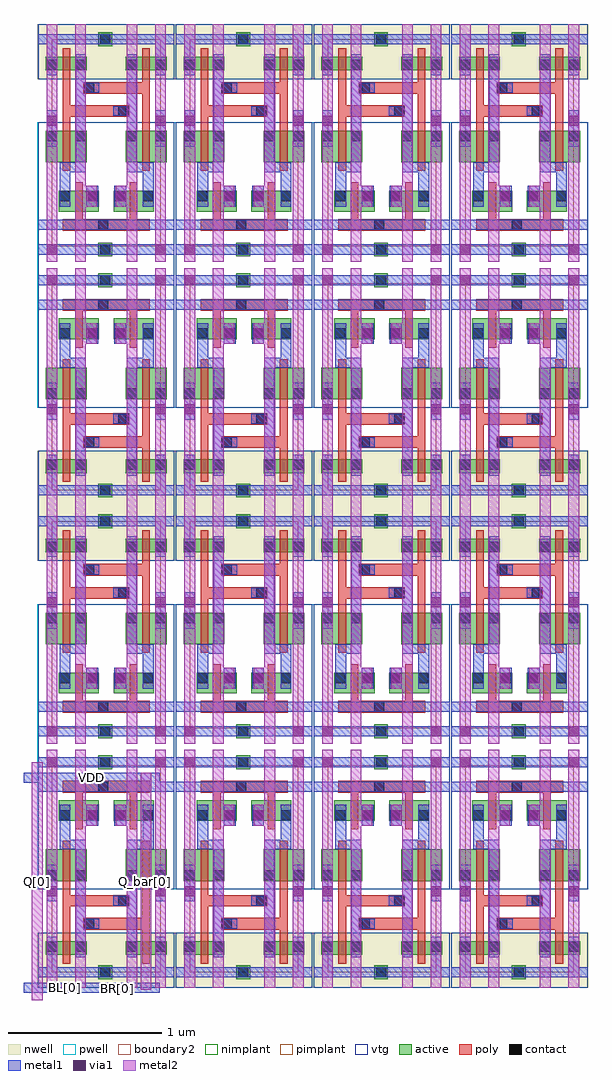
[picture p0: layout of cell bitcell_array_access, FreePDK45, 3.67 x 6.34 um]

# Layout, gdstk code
import gdstk
lib = gdstk.Library(unit=1e-6, precision=1e-09)
def R(c, l, rs):  # rectangles x0, y0, x1, y1
    for r in rs: c.add(gdstk.rectangle(r[:2], r[2:], *l))
active = (1, 0)
pwell = (2, 0)
nwell = (3, 0)
nimplant = (4, 0)
pimplant = (5, 0)
vtg = (6, 0)
poly = (9, 0)
contact = (10, 0)
metal1 = (11, 0)
via1 = (12, 0)
metal2 = (13, 0)
boundary2 = (239, 0)

cell_1rw = lib.new_cell('cell_1rw')
R(cell_1rw, active, [(0.302,-0.045,0.392,0.045), (0.302,-0.045,0.392,0.045), (0.045,0.247,0.12,0.382), (0.045,0.247,0.12,0.382), (0.045,0.247,0.305,0.382), (0.23,0.247,0.305,0.382), (0.23,0.247,0.305,0.382), (0.4,0.247,0.475,0.382), (0.4,0.247,0.475,0.382), (0.4,0.247,0.66,0.382), (0.585,0.247,0.66,0.382), (0.585,0.247,0.66,0.382), (0.045,0.307,0.12,0.382), (0.23,0.307,0.305,0.382), (0.4,0.307,0.475,0.382), (0.585,0.307,0.66,0.382), (-0.04,0.567,0.225,0.772), (-0.035,0.567,0.04,0.772), (-0.035,0.567,0.04,0.772), (0.15,0.567,0.225,0.772), (0.15,0.567,0.225,0.772), (0.48,0.567,0.555,0.772), (0.48,0.567,0.555,0.772), (0.48,0.567,0.745,0.772), (0.665,0.567,0.74,0.772), (0.665,0.567,0.74,0.772), (-0.035,0.697,0.04,0.772), (0.15,0.697,0.225,0.772), (0.48,0.697,0.555,0.772), (0.665,0.697,0.74,0.772), (-0.04,1.163,0.225,1.252), (-0.04,1.163,0.04,1.238), (-0.035,1.163,0.04,1.252), (-0.035,1.163,0.04,1.252), (0.15,1.163,0.225,1.238), (0.15,1.163,0.225,1.252), (0.15,1.163,0.225,1.252), (0.48,1.163,0.555,1.238), (0.48,1.163,0.555,1.252), (0.48,1.163,0.555,1.252), (0.48,1.163,0.745,1.252), (0.665,1.163,0.74,1.252), (0.665,1.163,0.74,1.252), (0.665,1.163,0.745,1.238), (0.302,1.32,0.392,1.41), (0.302,1.32,0.392,1.41)])
R(cell_1rw, pwell, [(-0.095,-0.1,0.8,0.827), (0.247,-0.1,0.447,0.1), (0.247,-0.08,0.447,0.12), (-0.01,0.192,0.36,0.437), (0.345,0.192,0.715,0.437), (-0.09,0.512,0.28,0.827), (0.425,0.512,0.795,0.827)])
R(cell_1rw, nwell, [(-0.095,1.107,0.8,1.465), (-0.09,1.107,0.28,1.308), (0.425,1.107,0.795,1.308), (0.247,1.265,0.447,1.465), (0.247,1.265,0.447,1.465)])
R(cell_1rw, nimplant, [(0.045,0.247,0.305,0.382), (0.4,0.247,0.66,0.382), (-0.035,0.567,0.225,0.772), (0.48,0.567,0.74,0.772), (0.302,1.32,0.392,1.41), (0.302,1.32,0.392,1.41)])
R(cell_1rw, pimplant, [(0.302,-0.045,0.392,0.045), (-0.035,1.163,0.225,1.252), (0.48,1.163,0.74,1.252)])
R(cell_1rw, vtg, [(-0.09,-0.1,0.795,0.827), (-0.01,0.192,0.36,0.437), (0.345,0.192,0.715,0.437), (-0.09,0.512,0.28,0.827), (0.425,0.512,0.795,0.827), (-0.09,1.107,0.795,1.465), (-0.09,1.107,0.28,1.308), (0.425,1.107,0.795,1.308)])
R(cell_1rw, poly, [(0.07,0.122,0.635,0.198), (0.297,0.122,0.372,0.198), (0.15,0.192,0.2,0.437), (0.15,0.192,0.2,0.247), (0.505,0.192,0.555,0.437), (0.505,0.192,0.555,0.247), (0.15,0.382,0.2,0.437), (0.505,0.382,0.555,0.437), (0.07,0.512,0.12,0.567), (0.07,0.512,0.12,0.827), (0.585,0.512,0.635,0.567), (0.585,0.512,0.635,0.827), (0.07,0.772,0.12,0.827), (0.585,0.772,0.635,0.827), (0.07,0.827,0.12,1.107), (0.07,0.827,0.12,1.107), (0.585,0.827,0.635,1.107), (0.585,0.827,0.635,1.107), (0.07,0.863,0.503,0.937), (0.427,0.863,0.503,0.937), (0.427,0.863,0.503,0.937), (0.203,1.012,0.635,1.088), (0.203,1.012,0.278,1.088), (0.203,1.012,0.278,1.088), (0.07,1.107,0.12,1.308), (0.07,1.107,0.12,1.163), (0.585,1.107,0.635,1.308), (0.585,1.107,0.635,1.163), (0.07,1.252,0.12,1.308), (0.585,1.252,0.635,1.308)])
R(cell_1rw, contact, [(0.315,-0.033,0.38,0.033), (0.302,0.127,0.367,0.192), (0.05,0.312,0.115,0.377), (0.235,0.312,0.3,0.377), (0.405,0.312,0.47,0.377), (0.59,0.312,0.655,0.377), (-0.033,0.702,0.033,0.768), (0.155,0.702,0.22,0.768), (0.485,0.702,0.55,0.768), (0.672,0.702,0.738,0.768), (0.432,0.868,0.497,0.932), (0.432,0.868,0.497,0.932), (0.208,1.018,0.273,1.083), (0.208,1.018,0.273,1.083), (-0.033,1.167,0.033,1.232), (0.155,1.167,0.22,1.232), (0.485,1.167,0.55,1.232), (0.672,1.167,0.738,1.232), (0.315,1.332,0.38,1.397)])
R(cell_1rw, metal1, [(-0.09,-0.033,0.795,0.033), (-0.09,0.127,0.795,0.192), (0.268,0.127,0.403,0.192), (-0.085,0.13,-0.033,0.192), (0.62,0.13,0.672,0.192), (0.05,0.278,0.12,0.567), (0.05,0.278,0.115,0.413), (0.222,0.278,0.288,0.413), (0.235,0.278,0.3,0.413), (0.405,0.278,0.47,0.413), (0.417,0.278,0.482,0.413), (0.59,0.278,0.66,0.567), (0.59,0.278,0.655,0.413), (0.05,0.503,0.22,0.567), (0.155,0.503,0.22,1.242), (0.485,0.503,0.55,1.133), (0.485,0.503,0.66,0.567), (-0.035,0.667,0.035,0.802), (-0.035,0.667,0.035,0.802), (-0.03,0.667,0.035,0.802), (0.155,0.667,0.22,0.802), (0.485,0.667,0.55,0.802), (0.67,0.667,0.74,0.802), (0.67,0.667,0.74,0.802), (0.67,0.667,0.74,0.802), (0.67,0.667,0.74,0.802), (0.67,0.667,0.74,0.802), (0.67,0.667,0.74,0.802), (0.67,0.667,0.735,0.802), (-0.033,0.77,0.033,0.905), (-0.033,0.77,0.033,0.905), (-0.033,0.77,0.033,0.905), (-0.033,0.77,0.033,0.905), (-0.033,0.77,0.033,0.905), (-0.033,0.77,0.033,0.905), (0.672,0.77,0.738,0.905), (0.672,0.77,0.738,0.905), (0.672,0.77,0.738,0.905), (0.672,0.77,0.738,0.905), (0.672,0.77,0.738,0.905), (0.672,0.77,0.738,0.905), (0.672,0.77,0.738,0.905), (0.672,0.77,0.738,0.905), (0.672,0.77,0.738,0.905), (0.672,0.77,0.738,0.905), (0.672,0.77,0.738,0.905), (0.672,0.77,0.738,0.905), (0.672,0.77,0.738,0.905), (0.672,0.77,0.738,0.905), (0.672,0.77,0.738,0.905), (0.672,0.77,0.738,0.905), (0.672,0.77,0.738,0.905), (0.672,0.77,0.738,0.905), (0.672,0.77,0.738,0.905), (0.672,0.77,0.738,0.905), (0.672,0.77,0.738,0.905), (0.672,0.77,0.738,0.905), (0.672,0.77,0.738,0.905), (0.672,0.77,0.738,0.905), (0.398,0.868,0.532,0.932), (0.398,0.868,0.532,0.932), (0.173,1.018,0.307,1.083), (0.173,1.018,0.307,1.083), (-0.035,1.133,0.035,1.332), (-0.03,1.133,0.035,1.268), (0.155,1.133,0.22,1.268), (0.485,1.133,0.55,1.268), (0.67,1.133,0.74,1.332), (0.67,1.133,0.74,1.332), (0.67,1.133,0.735,1.268), (-0.09,1.332,0.795,1.397)])
R(cell_1rw, via1, [(-0.033,-0.033,0.033,0.033), (-0.033,-0.033,0.033,0.033), (0.672,-0.033,0.738,0.033), (0.672,-0.033,0.738,0.033), (0.672,-0.033,0.738,0.033), (0.672,-0.033,0.738,0.033), (0.222,0.312,0.288,0.377), (0.417,0.312,0.482,0.377), (-0.033,0.805,0.033,0.87), (-0.033,0.805,0.033,0.87), (-0.033,0.805,0.033,0.87), (-0.033,0.805,0.033,0.87), (-0.033,0.805,0.033,0.87), (-0.033,0.805,0.033,0.87), (0.672,0.805,0.738,0.87), (0.672,0.805,0.738,0.87), (0.672,0.805,0.738,0.87), (0.672,0.805,0.738,0.87), (0.672,0.805,0.738,0.87), (0.672,0.805,0.738,0.87), (0.672,0.805,0.738,0.87), (0.672,0.805,0.738,0.87), (0.672,0.805,0.738,0.87), (0.672,0.805,0.738,0.87), (0.672,0.805,0.738,0.87), (0.672,0.805,0.738,0.87), (0.672,0.805,0.738,0.87), (0.672,0.805,0.738,0.87), (0.672,0.805,0.738,0.87), (0.672,0.805,0.738,0.87), (0.672,0.805,0.738,0.87), (0.672,0.805,0.738,0.87), (0.672,0.805,0.738,0.87), (0.672,0.805,0.738,0.87), (0.672,0.805,0.738,0.87), (0.672,0.805,0.738,0.87), (0.672,0.805,0.738,0.87), (0.672,0.805,0.738,0.87)])
R(cell_1rw, metal2, [(-0.035,-0.08,0.035,1.465), (0.15,-0.08,0.22,1.465), (0.485,-0.08,0.555,1.465), (0.67,-0.08,0.74,1.465), (0.492,-0.033,0.55,0.027), (-0.03,-0.03,0.03,0.027), (0.157,-0.025,0.212,0.027), (0.675,-0.025,0.735,0.033), (0.67,-0.013,0.74,1.397), (0.22,0.278,0.29,0.413), (0.415,0.278,0.485,0.413), (-0.035,0.77,0.035,0.905), (-0.035,0.77,0.035,0.905), (-0.035,0.77,0.035,0.905), (-0.035,0.77,0.035,0.905), (-0.035,0.77,0.035,0.905), (-0.035,0.77,0.035,0.905), (0.67,0.77,0.74,0.905), (0.67,0.77,0.74,0.905), (0.67,0.77,0.74,0.905), (0.67,0.77,0.74,0.905), (0.67,0.77,0.74,0.905), (0.67,0.77,0.74,0.905), (0.67,0.77,0.74,0.905), (0.67,0.77,0.74,0.905), (0.67,0.77,0.74,0.905), (0.67,0.77,0.74,0.905), (0.67,0.77,0.74,0.905), (0.67,0.77,0.74,0.905), (0.67,0.77,0.74,0.905), (0.67,0.77,0.74,0.905), (0.67,0.77,0.74,0.905), (0.67,0.77,0.74,0.905), (0.67,0.77,0.74,0.905), (0.67,0.77,0.74,0.905), (0.67,0.77,0.74,0.905), (0.67,0.77,0.74,0.905), (0.67,0.77,0.74,0.905), (0.67,0.77,0.74,0.905), (0.67,0.77,0.74,0.905), (0.67,0.77,0.74,0.905)])
R(cell_1rw, boundary2, [(0,0.02,0.705,1.365)])
cell_1rw.add(gdstk.Label('gnd', (0.345,0), layer=11, texttype=0))
cell_1rw.add(gdstk.Label('vdd', (0.345,1.365), layer=11, texttype=0))
cell_1rw.add(gdstk.Label('Q_bar', (0.625,0.48), layer=11, texttype=0))
cell_1rw.add(gdstk.Label('Q', (0.083,0.46), layer=11, texttype=0))
cell_1rw.add(gdstk.Label('wl', (-0.05,0.167), layer=11, texttype=0))
cell_1rw.add(gdstk.Label('bl', (0.19,0.003), layer=13, texttype=0))
cell_1rw.add(gdstk.Label('br', (0.52,0.003), layer=13, texttype=0))

bitcell_array = lib.new_cell('bitcell_array')
bitcell_array.add(gdstk.Reference(cell_1rw, (0.095,1.465), x_reflection=True))
bitcell_array.add(gdstk.Reference(cell_1rw, (0.99,1.465), x_reflection=True))
bitcell_array.add(gdstk.Reference(cell_1rw, (1.885,1.465), x_reflection=True))
bitcell_array.add(gdstk.Reference(cell_1rw, (2.78,1.465), x_reflection=True))
bitcell_array.add(gdstk.Reference(cell_1rw, (0.095,1.665)))
bitcell_array.add(gdstk.Reference(cell_1rw, (0.99,1.665)))
bitcell_array.add(gdstk.Reference(cell_1rw, (1.885,1.665)))
bitcell_array.add(gdstk.Reference(cell_1rw, (2.78,1.665)))
bitcell_array.add(gdstk.Reference(cell_1rw, (0.095,4.595), x_reflection=True))
bitcell_array.add(gdstk.Reference(cell_1rw, (0.99,4.595), x_reflection=True))
bitcell_array.add(gdstk.Reference(cell_1rw, (1.885,4.595), x_reflection=True))
bitcell_array.add(gdstk.Reference(cell_1rw, (2.78,4.595), x_reflection=True))
bitcell_array.add(gdstk.Reference(cell_1rw, (0.095,4.795)))
bitcell_array.add(gdstk.Reference(cell_1rw, (0.99,4.795)))
bitcell_array.add(gdstk.Reference(cell_1rw, (1.885,4.795)))
bitcell_array.add(gdstk.Reference(cell_1rw, (2.78,4.795)))

bitcell_array_access = lib.new_cell('bitcell_array_access')
R(bitcell_array_access, metal1, [(-0.09,-0.033,0.795,0.033), (-0.09,1.332,0.795,1.397)])
R(bitcell_array_access, metal2, [(-0.035,-0.08,0.035,1.465), (-0.035,-0.08,0.035,1.465), (-0.035,-0.08,0.035,1.465), (-0.035,-0.08,0.035,1.465), (-0.035,-0.08,0.035,1.465), (-0.035,-0.08,0.035,1.465), (-0.035,-0.08,0.035,1.465), (-0.035,-0.08,0.035,1.465), (0.492,-0.033,0.55,0.027), (0.492,-0.033,0.55,0.027), (0.492,-0.033,0.55,0.027), (0.492,-0.033,0.55,0.027), (0.157,-0.025,0.212,0.027), (0.157,-0.025,0.212,0.027), (0.157,-0.025,0.212,0.027), (0.157,-0.025,0.212,0.027), (0.67,-0.013,0.74,1.397), (0.67,-0.013,0.74,1.397), (0.67,-0.013,0.74,1.397), (0.67,-0.013,0.74,1.397)])
bitcell_array_access.add(gdstk.Reference(bitcell_array, (0,0)))
bitcell_array_access.add(gdstk.Label('BL[0]', (0.184,0.001), layer=13, texttype=0))
bitcell_array_access.add(gdstk.Label('BL[1]', (0.184,0.001), layer=13, texttype=0))
bitcell_array_access.add(gdstk.Label('BL[2]', (0.184,0.001), layer=13, texttype=0))
bitcell_array_access.add(gdstk.Label('BL[3]', (0.184,0.001), layer=13, texttype=0))
bitcell_array_access.add(gdstk.Label('BR[0]', (0.521,-0.003), layer=13, texttype=0))
bitcell_array_access.add(gdstk.Label('BR[1]', (0.521,-0.003), layer=13, texttype=0))
bitcell_array_access.add(gdstk.Label('BR[2]', (0.521,-0.003), layer=13, texttype=0))
bitcell_array_access.add(gdstk.Label('BR[3]', (0.521,-0.003), layer=13, texttype=0))
bitcell_array_access.add(gdstk.Label('GND', (0.352,0), layer=11, texttype=0))
bitcell_array_access.add(gdstk.Label('Q[0]', (0,0.692), layer=13, texttype=0))
bitcell_array_access.add(gdstk.Label('Q[1]', (0,0.692), layer=13, texttype=0))
bitcell_array_access.add(gdstk.Label('Q[2]', (0,0.692), layer=13, texttype=0))
bitcell_array_access.add(gdstk.Label('Q[3]', (0,0.692), layer=13, texttype=0))
bitcell_array_access.add(gdstk.Label('Q_bar[0]', (0.705,0.692), layer=13, texttype=0))
bitcell_array_access.add(gdstk.Label('Q_bar[1]', (0.705,0.692), layer=13, texttype=0))
bitcell_array_access.add(gdstk.Label('Q_bar[2]', (0.705,0.692), layer=13, texttype=0))
bitcell_array_access.add(gdstk.Label('Q_bar[3]', (0.705,0.692), layer=13, texttype=0))
bitcell_array_access.add(gdstk.Label('VDD', (0.352,1.365), layer=11, texttype=0))
bitcell_array_access.add(gdstk.Label('WL[0]', (0,0.692), layer=13, texttype=0))
bitcell_array_access.add(gdstk.Label('WL[1]', (0,0.692), layer=13, texttype=0))
bitcell_array_access.add(gdstk.Label('WL[2]', (0,0.692), layer=13, texttype=0))
bitcell_array_access.add(gdstk.Label('WL[3]', (0,0.692), layer=13, texttype=0))

lib.write_gds('bitcell_array_access.gds')
